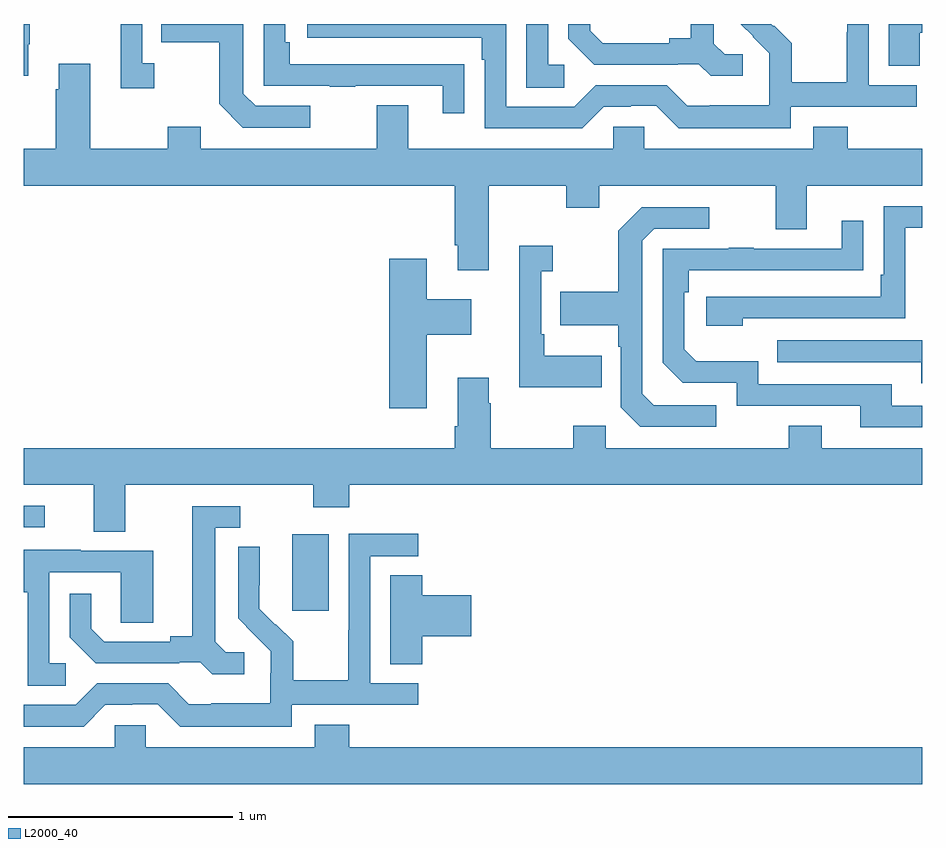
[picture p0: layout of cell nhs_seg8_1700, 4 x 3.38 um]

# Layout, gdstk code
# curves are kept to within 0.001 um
import gdstk
lib = gdstk.Library(unit=1e-6, precision=1e-09)
def R(c, l, rs):  # rectangles x0, y0, x1, y1
    for r in rs: c.add(gdstk.rectangle(r[:2], r[2:], *l))
def P(c, l, *ps):  # polygons
    for p in ps: c.add(gdstk.Polygon(p, *l))
L2000_40 = (2000, 40)

nhs_seg8_1700 = lib.new_cell('nhs_seg8_1700')
R(nhs_seg8_1700, L2000_40, [(220.196,1101.288,220.357,1101.628), (219,1101.66,219.094,1101.756), (221.652,1103.899,221.797,1103.9)])
P(nhs_seg8_1700, L2000_40, [(222.99,1103.86),(223,1103.86),(223,1103.9),(222.851,1103.9),(222.851,1103.713),(222.99,1103.713)],
  [(222.414,1103.532),(222.976,1103.532),(222.976,1103.628),(222.762,1103.628),(222.762,1103.9),(222.666,1103.9),(222.666,1103.864),(222.664,1103.864),(222.664,1103.641),(222.419,1103.641),(222.419,1103.815),(222.342,1103.892),(222.339,1103.889),(222.328,1103.9),(222.192,1103.9),(222.32,1103.77),(222.32,1103.673),(222.318,1103.673),(222.318,1103.539),(222.055,1103.539),(222.055,1103.535),(221.955,1103.535),(221.862,1103.628),(221.547,1103.628),(221.451,1103.532),(221.148,1103.532),(221.148,1103.9),(220.263,1103.9),(220.263,1103.838),(221.039,1103.838),(221.039,1103.741),(221.052,1103.741),(221.052,1103.436),(221.487,1103.436),(221.583,1103.532),(221.702,1103.532),(221.702,1103.535),(221.817,1103.535),(221.917,1103.435),(222.414,1103.435)],
  [(219.58,1103.726),(219.528,1103.726),(219.528,1103.9),(219.432,1103.9),(219.432,1103.879),(219.431,1103.879),(219.431,1103.613),(219.58,1103.613)],
  [(221.407,1103.718),(221.334,1103.718),(221.334,1103.9),(221.238,1103.9),(221.238,1103.617),(221.407,1103.617)],
  [(219.019,1103.809),(219.027,1103.809),(219.027,1103.9),(219,1103.9),(219,1103.67),(219.019,1103.67)],
  [(220.276,1103.535),(220.032,1103.535),(219.978,1103.589),(219.978,1103.9),(219.613,1103.9),(219.613,1103.818),(219.87,1103.818),(219.87,1103.545),(219.975,1103.439),(220.276,1103.439)],
  [(220.961,1103.72),(220.859,1103.72),(220.859,1103.721),(220.184,1103.721),(220.184,1103.818),(220.164,1103.818),(220.164,1103.9),(220.068,1103.9),(220.068,1103.625),(220.363,1103.625),(220.363,1103.62),(220.475,1103.62),(220.475,1103.625),(220.865,1103.625),(220.865,1103.502),(220.961,1103.502)],
  [(222.202,1103.766),(222.12,1103.766),(222.073,1103.813),(222.073,1103.9),(221.969,1103.9),(221.969,1103.837),(221.873,1103.837),(221.873,1103.814),(221.578,1103.814),(221.521,1103.871),(221.521,1103.9),(221.424,1103.9),(221.424,1103.834),(221.54,1103.718),(221.912,1103.718),(221.912,1103.721),(222.006,1103.721),(222.058,1103.669),(222.202,1103.669)],
  [(220.711,1103.539),(220.571,1103.539),(220.571,1103.344),(219.787,1103.344),(219.787,1103.443),(219.64,1103.443),(219.64,1103.344),(219.295,1103.344),(219.295,1103.722),(219.155,1103.722),(219.155,1103.609),(219.143,1103.609),(219.143,1103.344),(219,1103.344),(219,1103.18),(220.919,1103.18),(220.919,1102.915),(220.931,1102.915),(220.931,1102.803),(221.071,1102.803),(221.071,1103.18),(221.416,1103.18),(221.416,1103.081),(221.563,1103.081),(221.563,1103.18),(222.347,1103.18),(222.347,1102.986),(222.487,1102.986),(222.487,1103.18),(223,1103.18),(223,1103.344),(222.668,1103.344),(222.668,1103.443),(222.515,1103.443),(222.515,1103.344),(221.763,1103.344),(221.763,1103.442),(221.625,1103.442),(221.625,1103.344),(220.711,1103.344)],
  [(222.2,1102.59),(222.924,1102.59),(222.924,1102.992),(223,1102.992),(223,1103.088),(222.828,1103.088),(222.828,1102.783),(222.815,1102.783),(222.815,1102.686),(222.039,1102.686),(222.039,1102.556),(222.2,1102.556)],
  [(222.082,1102.203),(221.805,1102.203),(221.754,1102.254),(221.754,1102.935),(221.808,1102.989),(222.052,1102.989),(222.052,1103.085),(221.751,1103.085),(221.646,1102.979),(221.646,1102.707),(221.389,1102.707),(221.389,1102.559),(221.646,1102.559),(221.646,1102.463),(221.658,1102.463),(221.658,1102.194),(221.745,1102.107),(222.082,1102.107)],
  [(223,1102.2),(222.865,1102.2),(222.865,1102.296),(222.27,1102.296),(222.27,1102.399),(221.993,1102.399),(221.94,1102.452),(221.94,1102.706),(221.96,1102.706),(221.96,1102.803),(222.737,1102.804),(222.737,1103.023),(222.641,1103.023),(222.641,1102.899),(222.251,1102.899),(222.251,1102.904),(222.139,1102.904),(222.139,1102.899),(221.844,1102.899),(221.844,1102.392),(221.934,1102.302),(222.174,1102.302),(222.174,1102.2),(222.725,1102.2),(222.725,1102.104),(223,1102.104)],
  [(221.573,1102.423),(221.317,1102.423),(221.317,1102.519),(221.304,1102.519),(221.304,1102.799),(221.356,1102.799),(221.356,1102.912),(221.207,1102.912),(221.207,1102.283),(221.573,1102.283)],
  [(220.795,1102.517),(220.993,1102.517),(220.993,1102.675),(220.795,1102.675),(220.795,1102.855),(220.628,1102.855),(220.628,1102.188),(220.795,1102.188)],
  [(223,1102.491),(222.355,1102.491),(222.355,1102.395),(222.995,1102.395),(222.995,1102.301),(223,1102.301)],
  [(219.451,1101.848),(220.288,1101.848),(220.288,1101.749),(220.448,1101.749),(220.448,1101.848),(223,1101.848),(223,1102.012),(222.553,1102.012),(222.553,1102.111),(222.406,1102.111),(222.406,1102.012),(221.592,1102.012),(221.592,1102.111),(221.446,1102.111),(221.446,1102.012),(221.079,1102.012),(221.079,1102.211),(221.071,1102.211),(221.071,1102.324),(220.931,1102.324),(220.931,1102.108),(220.919,1102.108),(220.919,1102.012),(219,1102.012),(219,1101.848),(219.311,1101.848),(219.311,1101.64),(219.451,1101.64)],
  [(219.982,1101.102),(219.9,1101.102),(219.853,1101.149),(219.853,1101.657),(219.964,1101.657),(219.964,1101.753),(219.749,1101.753),(219.749,1101.173),(219.653,1101.173),(219.653,1101.15),(219.358,1101.15),(219.301,1101.207),(219.301,1101.364),(219.204,1101.364),(219.204,1101.17),(219.32,1101.054),(219.692,1101.054),(219.692,1101.057),(219.786,1101.057),(219.838,1101.005),(219.982,1101.005)],
  [(220.194,1100.868),(220.756,1100.868),(220.756,1100.964),(220.542,1100.964),(220.542,1101.531),(220.756,1101.531),(220.756,1101.63),(220.446,1101.63),(220.446,1101.2),(220.444,1101.2),(220.444,1100.977),(220.199,1100.977),(220.199,1101.151),(220.122,1101.228),(220.119,1101.225),(220.049,1101.296),(220.049,1101.4),(220.051,1101.4),(220.051,1101.572),(219.954,1101.572),(219.954,1101.254),(220.1,1101.106),(220.1,1101.009),(220.098,1101.009),(220.098,1100.875),(219.835,1100.875),(219.835,1100.871),(219.735,1100.871),(219.642,1100.964),(219.327,1100.964),(219.231,1100.868),(219,1100.868),(219,1100.772),(219.267,1100.772),(219.363,1100.868),(219.482,1100.868),(219.482,1100.871),(219.597,1100.871),(219.697,1100.771),(220.194,1100.771)],
  [(219.187,1101.054),(219.114,1101.054),(219.114,1101.459),(219.432,1101.459),(219.432,1101.235),(219.577,1101.235),(219.577,1101.555),(219.253,1101.555),(219.253,1101.559),(219,1101.559),(219,1101.369),(219.018,1101.369),(219.018,1100.953),(219.187,1100.953)],
  [(220.775,1101.173),(220.993,1101.173),(220.993,1101.356),(220.775,1101.356),(220.775,1101.446),(220.631,1101.446),(220.631,1101.049),(220.775,1101.049)],
  [(223,1100.68),(220.448,1100.68),(220.448,1100.779),(220.295,1100.779),(220.295,1100.68),(219.543,1100.68),(219.543,1100.778),(219.405,1100.778),(219.405,1100.68),(219,1100.68),(219,1100.516),(223,1100.516)])

lib.write_gds('nhs_seg8_1700.gds')
